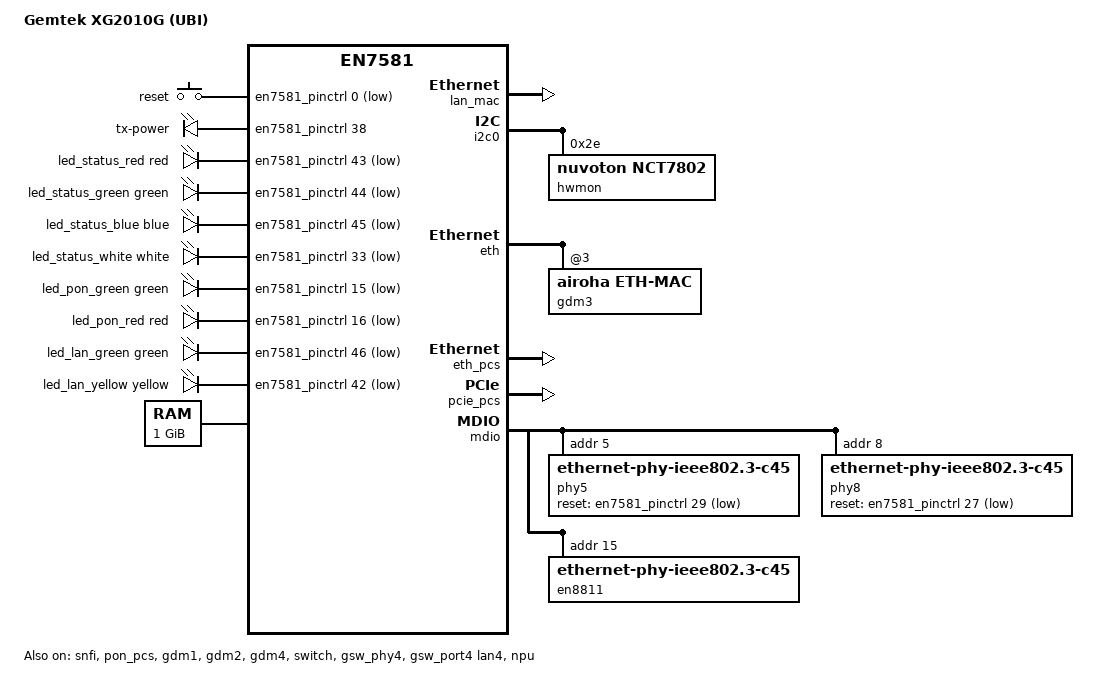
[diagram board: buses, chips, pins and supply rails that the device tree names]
// SPDX-License-Identifier: GPL-2.0-or-later OR MIT

/dts-v1/;

#include <dt-bindings/leds/common.h>
#include <dt-bindings/gpio/gpio.h>
#include <dt-bindings/input/input.h>
#include <dt-bindings/phy/phy.h>
#include "an7581.dtsi"

/ {
	model = "Gemtek XG2010G (UBI)";
	compatible = "gemtek,xg2010g-ubi", "econet,xg2010g-ubi",
		     "airoha,an7581", "airoha,en7581";

	aliases {
		serial0 = &uart1;
		led-boot = &led_status_red;
		led-failsafe = &led_status_red;
		led-upgrade = &led_status_blue;
		led-running = &led_status_green;
	};

	chosen {
		rootdisk = <&ubi_rootfs>;
		bootargs = "console=ttyS0,115200 earlycon ubi.block=0,fit root=/dev/fit0 rootwait";
		stdout-path = "serial0:115200n8";
	};

	keys {
		compatible = "gpio-keys";

		button-reset {
			label = "reset";
			gpios = <&en7581_pinctrl 0 GPIO_ACTIVE_LOW>;
			linux,code = <KEY_RESTART>;
		};
	};

	leds {
		compatible = "gpio-leds";

		led_tx_power: led-tx-power {
			label = "tx-power";
			gpios = <&en7581_pinctrl 38 GPIO_ACTIVE_HIGH>;
			default-state = "on";
		};

		led_status_red: led-status-red {
			color = <LED_COLOR_ID_RED>;
			function = LED_FUNCTION_STATUS;
			gpios = <&en7581_pinctrl 43 GPIO_ACTIVE_LOW>;
		};

		led_status_green: led-status-green {
			color = <LED_COLOR_ID_GREEN>;
			function = LED_FUNCTION_STATUS;
			gpios = <&en7581_pinctrl 44 GPIO_ACTIVE_LOW>;
		};

		led_status_blue: led-status-blue {
			color = <LED_COLOR_ID_BLUE>;
			function = LED_FUNCTION_STATUS;
			gpios = <&en7581_pinctrl 45 GPIO_ACTIVE_LOW>;
		};

		led_status_white: led-status-white {
			color = <LED_COLOR_ID_WHITE>;
			function = LED_FUNCTION_STATUS;
			gpios = <&en7581_pinctrl 33 GPIO_ACTIVE_LOW>;
		};

		led_pon_green: led-pon-green {
			color = <LED_COLOR_ID_GREEN>;
			function = LED_FUNCTION_WAN_ONLINE;
			gpios = <&en7581_pinctrl 15 GPIO_ACTIVE_LOW>;
		};

		led_pon_red: led-pon-red {
			color = <LED_COLOR_ID_RED>;
			function = LED_FUNCTION_WAN_ONLINE;
			gpios = <&en7581_pinctrl 16 GPIO_ACTIVE_LOW>;
		};

		led_lan_green: led-lan-green {
			color = <LED_COLOR_ID_GREEN>;
			function = LED_FUNCTION_LAN;
			gpios = <&en7581_pinctrl 46 GPIO_ACTIVE_LOW>;
		};

		led_lan_yellow: led-lan-yellow {
			color = <LED_COLOR_ID_YELLOW>;
			function = LED_FUNCTION_LAN;
			gpios = <&en7581_pinctrl 42 GPIO_ACTIVE_LOW>;
		};
	};

	pcm: pcm@1fbd0000 {
		compatible = "econet,ecnt-pcm";
		reg = <0x0 0x1fbd0000 0x0 0x4fff>;
		interrupts = <GIC_SPI 27 IRQ_TYPE_LEVEL_HIGH>;
		status = "disabled";
	};

	memory@80000000 {
		device_type = "memory";
		reg = <0x0 0x80000000 0x0 0x40000000>;
	};
};

&en7581_pinctrl {
	gpio-ranges = <&en7581_pinctrl 0 13 47>;

	mdio_pins: mdio-pins {
		mux {
			function = "mdio";
			groups = "mdio";
		};

		conf {
			pins = "gpio2";
			output-high;
		};
	};

};

&snfi {
	status = "okay";
};

&spi_nand {
	/* Winbond W25N04KVZEIR 512 MB SPI-NAND. */
	#address-cells = <1>;
	#size-cells = <1>;
	partitions {
		compatible = "fixed-partitions";
		#address-cells = <1>;
		#size-cells = <1>;

		partition@0 {
			label = "bootloader";
			reg = <0x00000000 0x00200000>;
			read-only;
		};

		partition@200000 {
			label = "uenv";
			reg = <0x00200000 0x00200000>;
			read-only;
		};

		partition@400000 {
			label = "dsd";
			reg = <0x00400000 0x00200000>;
			read-only;
		};

		partition@600000 {
			label = "ubi";
			reg = <0x00600000 0x08000000>;
			compatible = "linux,ubi";

			volumes {
				ubi-volume-ubootenv {
					volname = "ubootenv";
					nvmem-layout {
						compatible = "u-boot,env-redundant-bool";
					};
				};

				ubi-volume-ubootenv2 {
					volname = "ubootenv2";
					nvmem-layout {
						compatible = "u-boot,env-redundant-bool";
					};
				};

				ubi_rootfs: ubi-volume-fit {
					volname = "fit";
				};

				ubi_factory: ubi-volume-factory {
					volname = "factory";
				};
			};
		};

		partition@8600000 {
			label = "system";
			reg = <0x08600000 0x13700000>;
			read-only;
		};

		partition@1bd00000 {
			label = "art";
			reg = <0x1bd00000 0x00300000>;
			read-only;
		};
	};
};

&ubi_factory {
	nvmem-layout {
		compatible = "fixed-layout";
		#address-cells = <1>;
		#size-cells = <1>;

		eeprom: eeprom@0 {
			reg = <0x0 0x1e00>;
		};

		wan_mac: macaddr@5000 {
			reg = <0x5000 0x6>;
		};

		lan_mac: macaddr@6000 {
			compatible = "mac-base";
			reg = <0x6000 0x6>;
			#nvmem-cell-cells = <1>;
		};
	};
};

&i2c0 {
	status = "okay";

	hwmon@2e {
		compatible = "nuvoton,nct7802";
		reg = <0x2e>;
	};
};

&afe {
	status = "disabled";
};

&eth {
	status = "okay";

		/* GDM3 is fed by the XSI arbiter from the two free PCIe SerDes
		 * lanes (no WiFi on the XG2010G).  nbq 4 -> PCIe0 SerDes,
		 * nbq 5 -> PCIe1 SerDes.  Vendor firmware assigns phy8 (LAN2,
		 * RTL8261N) to PCIe1 (links at 10G with a 10G partner) and
		 * en8811 (LAN3, EN8811HN) to PCIe0. */
		gdm3: ethernet@3 {
			compatible = "airoha,eth-mac";
			reg = <3>;
			status = "okay";

			#address-cells = <1>;
			#size-cells = <0>;

			lan3_port: eth-port@4 {
				compatible = "airoha,eth-port";
				reg = <4>;

				phy-handle = <&en8811>;
				phy-mode = "2500base-x";
				pcs-handle = <&pcie_pcs 0>;

				nvmem-cells = <&lan_mac 2>;
				nvmem-cell-names = "mac-address";
				openwrt,netdev-name = "lan3";
			};

			lan2_port: eth-port@5 {
				compatible = "airoha,eth-port";
				reg = <5>;

				managed = "in-band-status";
				phy-handle = <&phy8>;
				phy-mode = "usxgmii";
				pcs-handle = <&pcie_pcs 1>;

				nvmem-cells = <&lan_mac 1>;
				nvmem-cell-names = "mac-address";
				openwrt,netdev-name = "lan2";
			};
		};
};

&pon_pcs {
	status = "okay";
};

&gdm1 {
	status = "okay";

	nvmem-cells = <&lan_mac 0>;
	nvmem-cell-names = "mac-address";
};

&gdm2 {
	status = "okay";

	managed = "in-band-status";
	/* XGSPON via upstream pon_pcs; optical PHY is EN7573AN.
	 * 10gbase-r vs usxgmii depends on EN7573AN SerDes mode. */
	phy-mode = "10gbase-r";

	nvmem-cells = <&wan_mac 0>;
	nvmem-cell-names = "mac-address";
	openwrt,netdev-name = "wan";
};

&eth_pcs {
	status = "okay";
};

/* The two on-board PCIe SerDes lanes are free (no WiFi on the XG2010G),
 * so they are repurposed as Ethernet SerDes via the pcie_pcs provider and
 * the XSI arbiter to feed GDM3 (lan2/lan3 below).  The standalone PCIe PHY
 * driver is disabled: it exclusively claims the same PMA register region as
 * pcie_pcs (pcs_ana/pcs_pma0/pcs_pma1) and only does PCIe-specific analog
 * calibration, which would make pcie_pcs probe fail with -EBUSY.  The
 * airoha-pcs driver performs the ethernet SerDes PLL bringup itself. */
&pciephy {
	status = "disabled";
};

&pcie_pcs {
	status = "okay";
};

&gdm4 {
	status = "okay";
	airoha,lan-port;

	managed = "in-band-status";
	/* Confirmed: phy5 = 1st RTL8261BE (10G copper) on panel LAN1.
	 * Verified by link-up/RX packet tests; reset-gpios matches the
	 * vendor's decompiled dtb. */
	phy-handle = <&phy5>;
	phy-mode = "usxgmii";

	nvmem-cells = <&lan_mac 0>;
	nvmem-cell-names = "mac-address";
	openwrt,netdev-name = "lan1";
};

&switch {
	status = "okay";

	pinctrl-names = "default";
	pinctrl-0 = <&mdio_pins>;

	mdio {
		/* 1st RTL8261BE (10G copper); bound to gdm4 above as lan1. */
		phy5: ethernet-phy@5 {
			compatible = "ethernet-phy-ieee802.3-c45";
			reg = <5>;
			reset-gpios = <&en7581_pinctrl 29 GPIO_ACTIVE_LOW>;
			reset-assert-us = <200000>;
			reset-deassert-us = <200000>;
			tx-polarity = <PHY_POL_INVERT>;
			rx-polarity = <PHY_POL_INVERT>;
		};

		/* LAN2: 2nd RTL8261BE (10G copper).  Wired to GDM3 via the XSI
		 * arbiter on the PCIe0 SerDes lane (see gdm3/eth-port@4). */
		phy8: ethernet-phy@8 {
			compatible = "ethernet-phy-ieee802.3-c45";
			reg = <8>;
			reset-gpios = <&en7581_pinctrl 27 GPIO_ACTIVE_LOW>;
			reset-assert-us = <200000>;
			reset-deassert-us = <200000>;
			tx-polarity = <PHY_POL_INVERT>;
			rx-polarity = <PHY_POL_INVERT>;
		};

		/* LAN3: EN8811HN (2.5G copper).  Wired to GDM3 via the XSI
		 * arbiter on the PCIe1 SerDes lane (see gdm3/eth-port@5). */
		en8811: ethernet-phy@f {
			compatible = "ethernet-phy-ieee802.3-c45";
			reg = <15>;
		};
	};
};

/* Physically confirmed by link testing: of the SoC's 4 on-die switch
 * ports/PHYs (gsw_port1-4 @ MDIO reg 9/10/11/12), only port 4 is wired to
 * a panel jack on this board (probe test: plugging a cable into panel
 * lan4 only brought up link on gsw_port4, at 1000Mb/s Full). gsw_port1-3
 * are left disabled (an7581.dtsi default) since nothing is connected to
 * them here - the vendor's decompiled fdt@1.dts phy@13/phy@14 entries
 * are a different, unrelated proprietary MDIO addressing scheme and do
 * not correspond to these on-die ports. */
&gsw_phy4 {
	status = "okay";
};

&gsw_port4 {
	status = "okay";
	label = "lan4";
};

&cpufreq {
	reg = <0x0 0x1FA20000 0x0 0x2C0
	       0x0 0x1EFBE000 0x0 0x800>;
	reg-names = "chip-scu", "mcucfg";
};

/* Enable the NPU for PPE offload.  No WiFi is present, so the generic
 * EN7581 NPU firmware is used. */
&npu {
	status = "okay";
	firmware-name = "airoha/en7581_npu_rv32.bin",
			"airoha/en7581_npu_data.bin";
};

&uart2 {
	status = "disabled";
};

&hsuart3 {
	status = "disabled";
};
